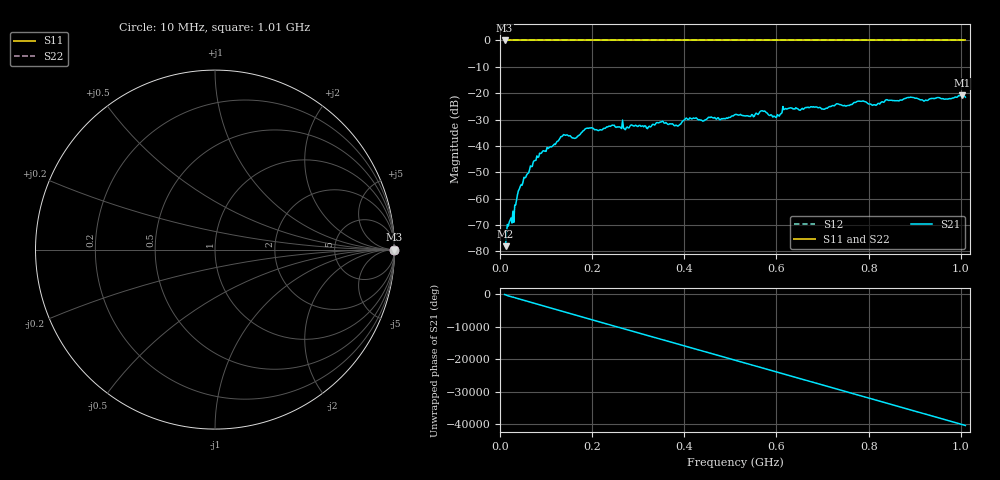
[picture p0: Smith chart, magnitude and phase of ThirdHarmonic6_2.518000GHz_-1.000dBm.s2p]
! 8/17/2025 4:56:30 AM
! C:\ANRITSUVNA\TEMP\TEMP.S2P
! CHANNEL.1
! TR.MEASUREMENT
! RAW.DATA
! RF.CORRECTION.OFF
! AVERAGING.OFF
! IF.BANDWIDTH: 5KHZ
! SWEEPTYPE:  FREQ.SWEEP(Linear)
! Reference Plane Port Info
! PORT:  PORT1  PORT2
! DISTANCE:  0  m  0  m
! TIME:  0  s  0  s
! PHASE.OFFSET:  0  deg.  0  deg.
! LOSS:  0  dB  0  dB
! REF.LOSS:  0  dB  0  dB
! REF.FREQ:  0  Hz  0  Hz
! Power Info
! POWER:  -20  dBm  -20  dBm
! EFF.POWER:  -20  dBm  -20  dBm
! SOURCE.ATTEN:  0  dB  0  dB
! TEST.ATTEN:  0  dB  0  dB
# GHZ S RI R 50.0
! FREQ.GHZ  S11RE  S11IM  S21RE  S21IM  S12RE  S12IM  S22RE  S22IM
!; PortSelection: Port_12
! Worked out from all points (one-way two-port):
!   501 points, 10 MHz to 1.01 GHz, reference 50 ohm
!   highest |S21| = -20.75 dB at 1.002 GHz (marker M1); lowest = -78.1 dB at 12 MHz (marker M2)
!   lowest |S11| = 0.0 dB at 10 MHz (marker M3)
!   |S11| at or under -10 dB: nowhere
!   |S22| runs from 0.0 to 0.0 dB; largest |S21 - S12| = 1.1
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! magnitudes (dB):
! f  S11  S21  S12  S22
! 10 MHz  0.0  -77.5  0.0  0.0
! 12 MHz  0.0  -78.1  0.0  0.0
! 20 MHz  0.0  -69.0  0.0  0.0
! 30 MHz  0.0  -69.0  0.0  0.0
! 42 MHz  0.0  -56.3  0.0  0.0
! 76 MHz  0.0  -45.6  0.0  0.0
! 136 MHz  0.0  -36.2  0.0  0.0
! 162 MHz  0.0  -37.2  0.0  0.0
! 178 MHz  0.0  -34.8  0.0  0.0
! 344 MHz  0.0  -31.3  0.0  0.0
! 384 MHz  0.0  -32.3  0.0  0.0
! 408 MHz  0.0  -30.1  0.0  0.0
! 510 MHz  0.0  -28.2  0.0  0.0
! 570 MHz  0.0  -26.7  0.0  0.0
! 596 MHz  0.0  -28.8  0.0  0.0
! 618 MHz  0.0  -26.0  0.0  0.0
! 678 MHz  0.0  -25.3  0.0  0.0
! 782 MHz  0.0  -23.1  0.0  0.0
! 812 MHz  0.0  -24.4  0.0  0.0
! 844 MHz  0.0  -22.8  0.0  0.0
! 1.002 GHz  0.0  -20.8  0.0  0.0
! 1.01 GHz  0.0  -21.5  0.0  0.0
